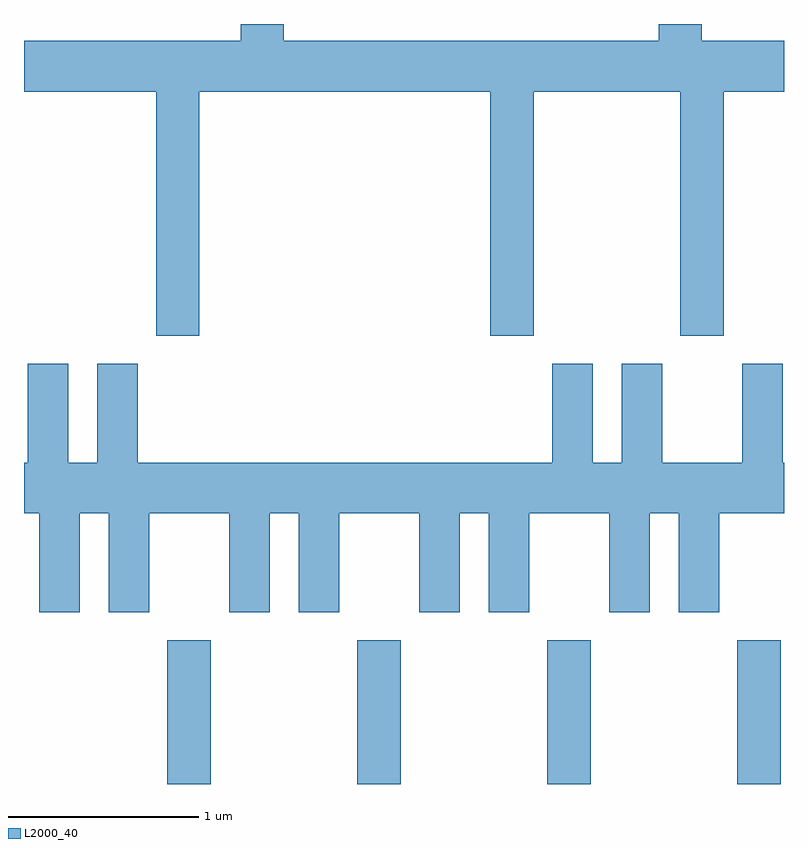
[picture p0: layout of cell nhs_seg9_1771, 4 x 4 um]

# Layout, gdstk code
import gdstk
lib = gdstk.Library(unit=1e-6, precision=1e-09)
def R(c, l, rs):  # rectangles x0, y0, x1, y1
    for r in rs: c.add(gdstk.rectangle(r[:2], r[2:], *l))
def A(c, l, x, y, w, h, nx, ny, dx, dy):  # array of equal rectangles
    R(c, l, [(x+i*dx, y+j*dy, x+i*dx+w, y+j*dy+h) for i in range(nx) for j in range(ny)])
def P(c, l, *ps):  # polygons
    for p in ps: c.add(gdstk.Polygon(p, *l))
L2000_40 = (2000, 40)

nhs_seg9_1771 = lib.new_cell('nhs_seg9_1771')
A(nhs_seg9_1771, L2000_40, 238.366, 1950.432, 0.228, 0.757, 4, 1, 1, 0)
P(nhs_seg9_1771, L2000_40, [(238.534,1954.076),(240.066,1954.076),(240.066,1952.791),(240.294,1952.791),(240.294,1954.076),(241.066,1954.076),(241.066,1952.791),(241.294,1952.791),(241.294,1954.076),(241.611,1954.076),(241.611,1954.344),(241.179,1954.344),(241.179,1954.432),(240.951,1954.432),(240.951,1954.344),(238.979,1954.344),(238.979,1954.432),(238.751,1954.432),(238.751,1954.344),(237.611,1954.344),(237.611,1954.076),(238.306,1954.076),(238.306,1952.791),(238.534,1952.791)],
  [(237.904,1951.856),(238.056,1951.856),(238.056,1951.336),(238.269,1951.336),(238.269,1951.856),(238.691,1951.856),(238.691,1951.336),(238.904,1951.336),(238.904,1951.856),(239.056,1951.856),(239.056,1951.336),(239.269,1951.336),(239.269,1951.856),(239.691,1951.856),(239.691,1951.336),(239.904,1951.336),(239.904,1951.856),(240.056,1951.856),(240.056,1951.336),(240.269,1951.336),(240.269,1951.856),(240.691,1951.856),(240.691,1951.336),(240.904,1951.336),(240.904,1951.856),(241.056,1951.856),(241.056,1951.336),(241.269,1951.336),(241.269,1951.856),(241.611,1951.856),(241.611,1952.124),(241.604,1952.124),(241.604,1952.644),(241.391,1952.644),(241.391,1952.124),(240.969,1952.124),(240.969,1952.644),(240.756,1952.644),(240.756,1952.124),(240.604,1952.124),(240.604,1952.644),(240.391,1952.644),(240.391,1952.124),(238.209,1952.124),(238.209,1952.644),(237.996,1952.644),(237.996,1952.124),(237.844,1952.124),(237.844,1952.644),(237.631,1952.644),(237.631,1952.124),(237.611,1952.124),(237.611,1951.856),(237.691,1951.856),(237.691,1951.336),(237.904,1951.336)])

lib.write_gds('nhs_seg9_1771.gds')
